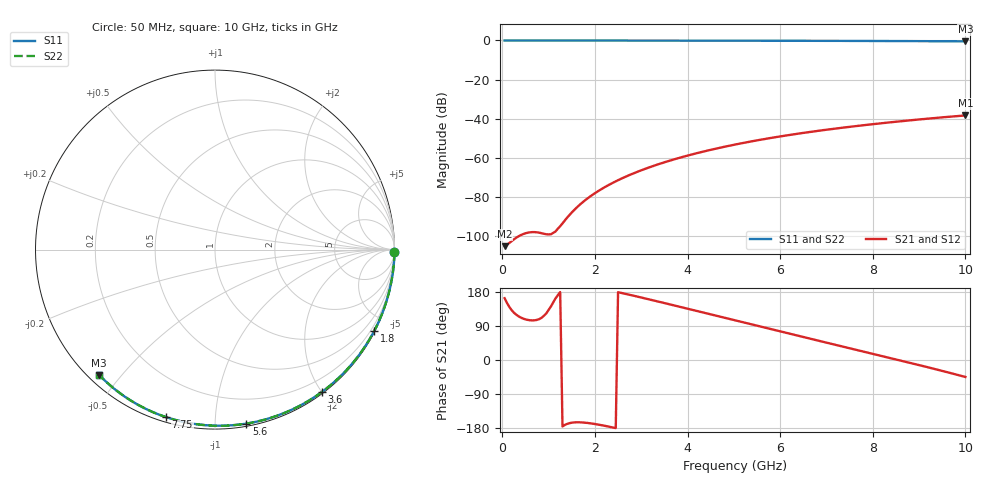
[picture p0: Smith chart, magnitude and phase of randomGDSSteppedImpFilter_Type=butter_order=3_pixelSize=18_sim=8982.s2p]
! freq	dB(S11)	phase(S11)	dB(S12)	phase(S12)
!  dB(S21)	phase(S21)	dB(S22)	phase(S22)
!S-par simulation data
#  GHz  S  DB  R 50
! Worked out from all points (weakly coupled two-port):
!   200 points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, 50 MHz to 10 GHz, reference 50 ohm
!   highest |S21| = -38.26 dB at 10 GHz (marker M1); lowest = -104.9 dB at 50 MHz (marker M2)
!   lowest |S11| = -0.4 dB at 10 GHz (marker M3), VSWR 39.59, Z = 1.51 - j21.9 ohm
!   |S11| at or under -10 dB: nowhere
!   |S22| runs from -0.4 to 0.0 dB; largest |S21 - S12| = 0
!   S11 on the Smith chart (normalised r, x): 50 MHz: open; 1.8 GHz: 0.04, -4.15; 3.6 GHz: 0.02, -2.01; 5.6 GHz: 0.02, -1.20; 7.75 GHz: 0.02, -0.75; 10 GHz: 0.03, -0.44
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0.05  -0.00 -0.8  -104.95 163.0  -104.95 163.0  -0.00 -0.8
0.9  -0.02 -13.7  -98.64 116.8  -98.64 116.8  -0.02 -13.7
1.75  -0.03 -26.3  -82.26 -165.0  -82.26 -165.0  -0.03 -26.3
1.8  -0.03 -27.1  -81.31 -165.5  -81.31 -165.5  -0.03 -27.1
1.85  -0.04 -27.8  -80.41 -166.2  -80.41 -166.2  -0.04 -27.8
1.9  -0.04 -28.6  -79.55 -167.0  -79.55 -167.0  -0.04 -28.6
2.05  -0.04 -30.8  -77.16 -169.9  -77.16 -169.9  -0.04 -30.8
2.25  -0.04 -33.7  -74.34 -174.6  -74.34 -174.6  -0.04 -33.7
2.45  -0.05 -36.6  -71.86 -179.7  -71.86 -179.7  -0.05 -36.6
2.65  -0.05 -39.5  -69.64 174.9  -69.64 174.9  -0.05 -39.5
3  -0.06 -44.5  -66.24 164.9  -66.24 164.9  -0.06 -44.5
3.4  -0.07 -50.2  -62.92 153.2  -62.92 153.2  -0.07 -50.2
3.6  -0.07 -53.0  -61.43 147.3  -61.43 147.3  -0.07 -53.0
4.3  -0.09 -62.6  -56.92 126.5  -56.92 126.5  -0.09 -62.6
5.05  -0.11 -72.6  -52.99 104.0  -52.99 104.0  -0.11 -72.6
5.6  -0.13 -79.8  -50.55 87.5  -50.55 87.5  -0.13 -79.8
6.15  -0.15 -86.7  -48.40 71.1  -48.40 71.1  -0.15 -86.7
6.7  -0.18 -93.6  -46.49 54.7  -46.49 54.7  -0.18 -93.6
7.75  -0.24 -106.3  -43.38 23.8  -43.38 23.8  -0.24 -106.3
8.35  -0.29 -113.4  -41.83 6.1  -41.83 6.1  -0.29 -113.4
9.15  -0.35 -122.7  -39.97 -17.9  -39.97 -17.9  -0.35 -122.7
10  -0.44 -132.7  -38.26 -44.8  -38.26 -44.8  -0.44 -132.7
